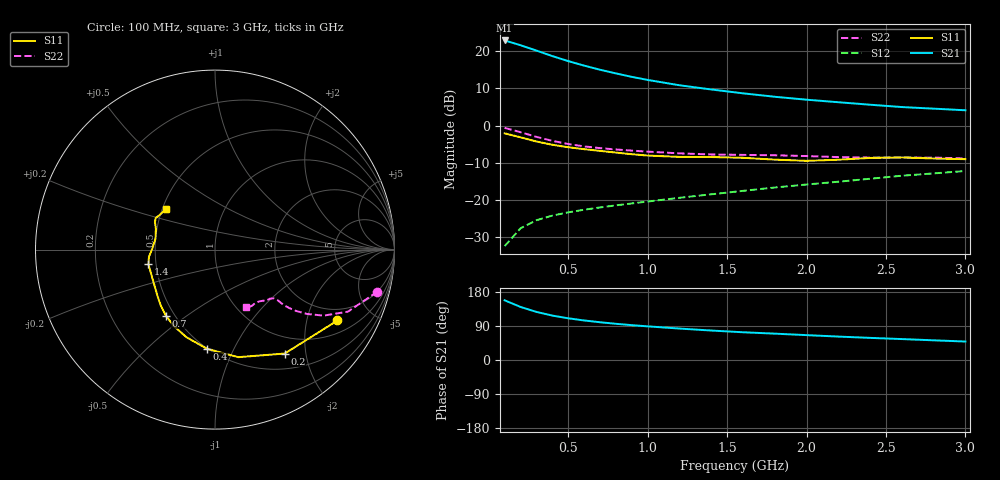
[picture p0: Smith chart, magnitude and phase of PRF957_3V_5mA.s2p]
! Philips part #:  PRF957  Date:  Nov 1998
! Bias condition:  Vce=3V, Ic=5mA
#  MHz  S  MA  R 50
! Freq  S11  S21  S12  S22
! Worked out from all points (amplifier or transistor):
!   20 points, 100 MHz to 3 GHz, reference 50 ohm
!   highest |S21| = 22.9 dB at 100 MHz (marker M1)
!   |S21| within 3 dB of that: start of sweep to 319.3 MHz
!   unconditionally stable (mu >= 1): 1.403 GHz to end of sweep
!   at 400 MHz: K = 0.48, MSG = 21.4 dB, |S12| = -24.1 dB
!   at 1.2 GHz: K = 0.97, MSG = 15.1 dB, |S12| = -19.4 dB
!   at 3 GHz: K = 1.06, MAG = 6.7 dB, |S12| = -12.2 dB
!   S11 on the Smith chart (normalised r, x): 100 MHz: 1.47, -3.08; 200 MHz: 0.72, -1.63; 400 MHz: 0.50, -0.79; 700 MHz: 0.45, -0.42; 1.4 GHz: 0.45, -0.09; 3 GHz: 0.52, +0.27
100  0.7885 -30.1  13.9 157.5  0.02416 74.6  0.9344 -14.6
200  0.6975 -56.1  12.01 140.1  0.04197 64.1  0.8175 -25.0
300  0.6131 -77.8  10.17 126.9  0.05384 58.1  0.7079 -31.3
400  0.5542 -94.7  8.582 117.3  0.06206 55.1  0.6254 -35.0
500  0.5136 -108.0  7.352 110.1  0.06868 54.4  0.5673 -37.1
600  0.4837 -118.3  6.396 104.3  0.07445 54.5  0.5273 -38.2
700  0.4587 -126.6  5.632 99.6  0.07994 55.3  0.4997 -38.8
800  0.4354 -133.7  5.027 95.6  0.0852 56.4  0.4793 -38.9
900  0.414 -140.3  4.516 92.0  0.09042 57.7  0.4626 -38.9
1000  0.3971 -146.8  4.107 88.8  0.09592 59.1  0.4484 -39.0
1200  0.381 -158.6  3.487 83.0  0.1076 61.5  0.4249 -39.8
1400  0.3796 -167.5  3.06 77.8  0.1199 63.5  0.4106 -41.8
1600  0.3705 -173.7  2.715 73.2  0.1334 65.5  0.4053 -43.8
1800  0.3502 179.5  2.442 69.6  0.1481 67.0  0.4007 -45.2
2000  0.3372 169.9  2.23 65.6  0.1623 68.3  0.3909 -46.8
2200  0.3491 160.6  2.063 61.8  0.1771 69.2  0.3788 -49.6
2400  0.3689 155.2  1.91 58.4  0.1938 69.7  0.373 -53.5
2600  0.3745 151.9  1.777 55.2  0.213 70.0  0.3744 -56.9
2800  0.3626 147.4  1.691 51.9  0.2288 70.5  0.3726 -59.3
3000  0.355 139.8  1.608 48.7  0.2465 70.9  0.3636 -62.0
